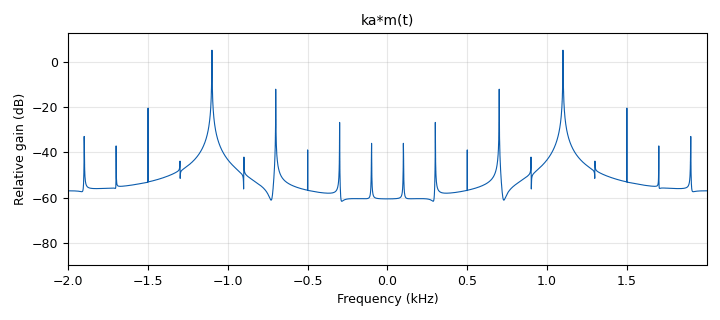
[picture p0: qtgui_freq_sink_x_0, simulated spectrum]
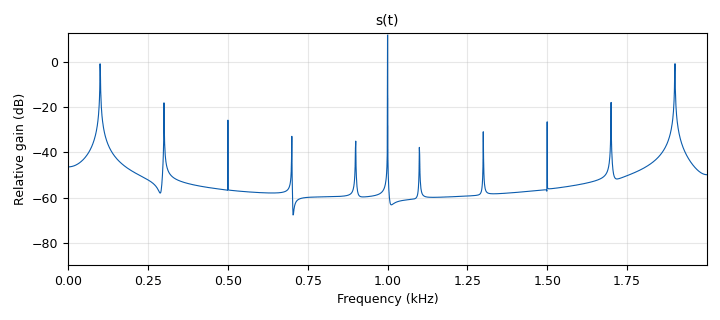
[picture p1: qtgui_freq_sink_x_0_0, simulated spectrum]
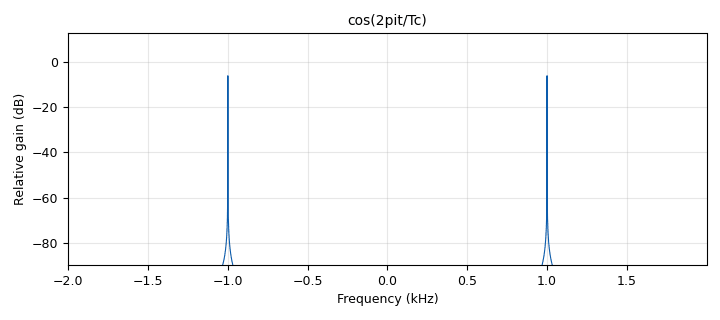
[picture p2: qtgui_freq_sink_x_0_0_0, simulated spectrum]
<?xml version='1.0' encoding='utf-8'?>
<?grc format='1' created='3.7.9'?>
<flow_graph>
<block>
<key>options</key>
<param><key>id</key><value>top_block</value></param>
<param><key>category</key><value>Custom</value></param>
<param><key>generate_options</key><value>qt_gui</value></param>
</block>
<block>
<key>variable_qtgui_range</key>
<param><key>id</key><value>freq_c</value></param>
<param><key>value</key><value>33000</value></param>
<param><key>orient</key><value>Qt.Horizontal</value></param>
<param><key>start</key><value>500</value></param>
<param><key>step</key><value>500</value></param>
<param><key>stop</key><value>70000</value></param>
</block>
<block>
<key>variable_qtgui_range</key>
<param><key>id</key><value>freq_m</value></param>
<param><key>value</key><value>1100</value></param>
<param><key>orient</key><value>Qt.Horizontal</value></param>
<param><key>start</key><value>10</value></param>
<param><key>step</key><value>10</value></param>
<param><key>stop</key><value>2000</value></param>
</block>
<block>
<key>variable_qtgui_range</key>
<param><key>id</key><value>k_a</value></param>
<param><key>value</key><value>6</value></param>
<param><key>orient</key><value>Qt.Horizontal</value></param>
<param><key>start</key><value>0</value></param>
<param><key>step</key><value>1</value></param>
<param><key>stop</key><value>12</value></param>
</block>
<block>
<key>variable</key>
<param><key>id</key><value>samp_rate</value></param>
<param><key>value</key><value>4000</value></param>
</block>
<block>
<key>qtgui_tab_widget</key>
<param><key>id</key><value>aba</value></param>
<param><key>label0</key><value>m(t)</value></param>
<param><key>label1</key><value>Espectro cos</value></param>
<param><key>label2</key><value>Espectro s(t)</value></param>
<param><key>label3</key><value>Espectro k_am(t)</value></param>
<param><key>num_tabs</key><value>4</value></param>
</block>
<block>
<key>analog_sig_source_x</key>
<param><key>id</key><value>analog_sig_source_x_0</value></param>
<param><key>amp</key><value>2</value></param>
<param><key>freq</key><value>freq_m</value></param>
<param><key>offset</key><value>-1</value></param>
<param><key>type</key><value>float</value></param>
<param><key>samp_rate</key><value>samp_rate</value></param>
<param><key>waveform</key><value>analog.GR_TRI_WAVE</value></param>
</block>
<block>
<key>analog_sig_source_x</key>
<param><key>id</key><value>analog_sig_source_x_0_1</value></param>
<param><key>amp</key><value>1</value></param>
<param><key>freq</key><value>freq_c</value></param>
<param><key>offset</key><value>0</value></param>
<param><key>type</key><value>float</value></param>
<param><key>samp_rate</key><value>samp_rate</value></param>
<param><key>waveform</key><value>analog.GR_COS_WAVE</value></param>
</block>
<block>
<key>blocks_add_const_vxx</key>
<param><key>id</key><value>blocks_add_const_vxx_0</value></param>
<param><key>const</key><value>8</value></param>
<param><key>type</key><value>float</value></param>
</block>
<block>
<key>blocks_multiply_const_vxx</key>
<param><key>id</key><value>blocks_multiply_const_vxx_0</value></param>
<param><key>const</key><value>k_a</value></param>
<param><key>type</key><value>float</value></param>
</block>
<block>
<key>blocks_multiply_xx</key>
<param><key>id</key><value>blocks_multiply_xx_0</value></param>
<param><key>type</key><value>float</value></param>
</block>
<block>
<key>blocks_throttle</key>
<param><key>id</key><value>blocks_throttle_0_1</value></param>
<param><key>samples_per_second</key><value>samp_rate</value></param>
<param><key>type</key><value>float</value></param>
</block>
<block>
<key>blocks_throttle</key>
<param><key>id</key><value>blocks_throttle_0_1_0</value></param>
<param><key>samples_per_second</key><value>samp_rate</value></param>
<param><key>type</key><value>float</value></param>
</block>
<block>
<key>blocks_throttle</key>
<param><key>id</key><value>blocks_throttle_0_2</value></param>
<param><key>samples_per_second</key><value>samp_rate</value></param>
<param><key>type</key><value>float</value></param>
</block>
<block>
<key>qtgui_freq_sink_x</key>
<param><key>id</key><value>qtgui_freq_sink_x_0</value></param>
<param><key>bw</key><value>samp_rate</value></param>
<param><key>fc</key><value>0</value></param>
<param><key>ctrlpanel</key><value>True</value></param>
<param><key>fftsize</key><value>4096</value></param>
<param><key>gui_hint</key><value>aba@3</value></param>
<param><key>grid</key><value>True</value></param>
<param><key>color1</key><value>"red"</value></param>
<param><key>name</key><value>"ka*m(t)"</value></param>
<param><key>showports</key><value>True</value></param>
<param><key>type</key><value>float</value></param>
<param><key>wintype</key><value>firdes.WIN_RECTANGULAR</value></param>
<param><key>ymax</key><value>13</value></param>
<param><key>ymin</key><value>-90</value></param>
</block>
<block>
<key>qtgui_freq_sink_x</key>
<param><key>id</key><value>qtgui_freq_sink_x_0_0</value></param>
<param><key>bw</key><value>samp_rate</value></param>
<param><key>fc</key><value>0</value></param>
<param><key>ctrlpanel</key><value>True</value></param>
<param><key>fftsize</key><value>4096</value></param>
<param><key>gui_hint</key><value>aba@2</value></param>
<param><key>grid</key><value>True</value></param>
<param><key>name</key><value>"s(t)"</value></param>
<param><key>showports</key><value>True</value></param>
<param><key>freqhalf</key><value>False</value></param>
<param><key>type</key><value>float</value></param>
<param><key>wintype</key><value>firdes.WIN_RECTANGULAR</value></param>
<param><key>ymax</key><value>13</value></param>
<param><key>ymin</key><value>-90</value></param>
</block>
<block>
<key>qtgui_freq_sink_x</key>
<param><key>id</key><value>qtgui_freq_sink_x_0_0_0</value></param>
<param><key>bw</key><value>samp_rate</value></param>
<param><key>fc</key><value>0</value></param>
<param><key>ctrlpanel</key><value>True</value></param>
<param><key>fftsize</key><value>4096</value></param>
<param><key>gui_hint</key><value>aba@1</value></param>
<param><key>grid</key><value>True</value></param>
<param><key>color1</key><value>"green"</value></param>
<param><key>name</key><value>"cos(2pit/Tc)"</value></param>
<param><key>showports</key><value>True</value></param>
<param><key>type</key><value>float</value></param>
<param><key>wintype</key><value>firdes.WIN_RECTANGULAR</value></param>
<param><key>ymax</key><value>13</value></param>
<param><key>ymin</key><value>-90</value></param>
</block>
<connection><source_block_id>analog_sig_source_x_0</source_block_id><sink_block_id>blocks_multiply_const_vxx_0</sink_block_id><source_key>0</source_key><sink_key>0</sink_key></connection>
<connection><source_block_id>analog_sig_source_x_0_1</source_block_id><sink_block_id>blocks_multiply_xx_0</sink_block_id><source_key>0</source_key><sink_key>1</sink_key></connection>
<connection><source_block_id>analog_sig_source_x_0_1</source_block_id><sink_block_id>blocks_throttle_0_1_0</sink_block_id><source_key>0</source_key><sink_key>0</sink_key></connection>
<connection><source_block_id>blocks_add_const_vxx_0</source_block_id><sink_block_id>blocks_multiply_xx_0</sink_block_id><source_key>0</source_key><sink_key>0</sink_key></connection>
<connection><source_block_id>blocks_multiply_const_vxx_0</source_block_id><sink_block_id>blocks_add_const_vxx_0</sink_block_id><source_key>0</source_key><sink_key>0</sink_key></connection>
<connection><source_block_id>blocks_multiply_const_vxx_0</source_block_id><sink_block_id>blocks_throttle_0_2</sink_block_id><source_key>0</source_key><sink_key>0</sink_key></connection>
<connection><source_block_id>blocks_multiply_xx_0</source_block_id><sink_block_id>blocks_throttle_0_1</sink_block_id><source_key>0</source_key><sink_key>0</sink_key></connection>
<connection><source_block_id>blocks_throttle_0_1</source_block_id><sink_block_id>qtgui_freq_sink_x_0_0</sink_block_id><source_key>0</source_key><sink_key>0</sink_key></connection>
<connection><source_block_id>blocks_throttle_0_1_0</source_block_id><sink_block_id>qtgui_freq_sink_x_0_0_0</sink_block_id><source_key>0</source_key><sink_key>0</sink_key></connection>
<connection><source_block_id>blocks_throttle_0_2</source_block_id><sink_block_id>qtgui_freq_sink_x_0</sink_block_id><source_key>0</source_key><sink_key>0</sink_key></connection>
</flow_graph>
